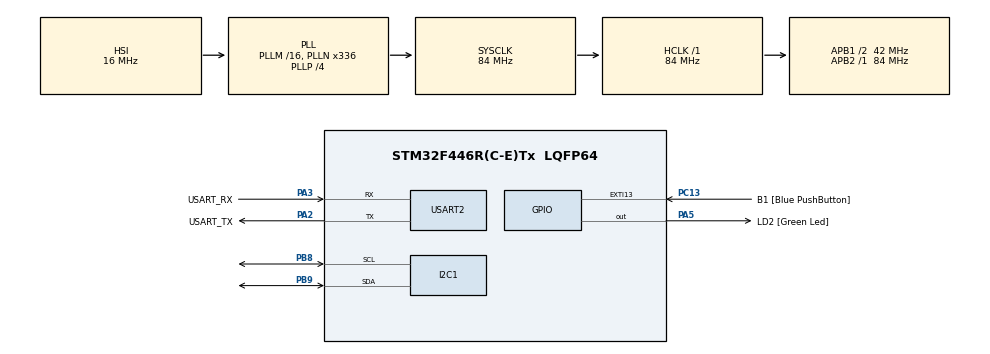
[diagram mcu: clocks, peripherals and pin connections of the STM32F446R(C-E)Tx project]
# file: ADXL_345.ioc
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Mcu.Family=STM32F4
Mcu.Name=STM32F446R(C-E)Tx
Mcu.Package=LQFP64
NVIC.PriorityGroup=NVIC_PRIORITYGROUP_0
PA13.GPIO_Label=TMS
PA13.Mode=Serial_Wire
PA13.Signal=SYS_JTMS-SWDIO
PA14.GPIO_Label=TCK
PA14.Mode=Serial_Wire
PA14.Signal=SYS_JTCK-SWCLK
PA2.GPIO_Label=USART_TX
PA2.Mode=Asynchronous
PA2.Signal=USART2_TX
PA3.GPIO_Label=USART_RX
PA3.Mode=Asynchronous
PA3.Signal=USART2_RX
PA5.GPIO_Label=LD2 [Green Led]
PA5.Signal=GPIO_Output
PB3.GPIO_Label=SWO
PB3.Signal=SYS_JTDO-SWO
PB8.Mode=I2C
PB8.Signal=I2C1_SCL
PB9.Mode=I2C
PB9.Signal=I2C1_SDA
PC13.GPIO_Label=B1 [Blue PushButton]
PC13.GPIO_ModeDefaultEXTI=GPIO_MODE_IT_FALLING
PC13.Signal=GPXTI13
PC14-OSC32_IN.Mode=LSE-External-Oscillator
PC14-OSC32_IN.Signal=RCC_OSC32_IN
PC15-OSC32_OUT.Mode=LSE-External-Oscillator
PC15-OSC32_OUT.Signal=RCC_OSC32_OUT
PH0-OSC_IN.Mode=HSE-External-Oscillator
PH0-OSC_IN.Signal=RCC_OSC_IN
PH1-OSC_OUT.Mode=HSE-External-Oscillator
PH1-OSC_OUT.Signal=RCC_OSC_OUT
ProjectManager.HeapSize=0x200
ProjectManager.StackSize=0x400
ProjectManager.TargetToolchain=STM32CubeIDE
RCC.48MHZClocksFreq_Value=84000000
RCC.AHBFreq_Value=84000000
RCC.APB1CLKDivider=RCC_HCLK_DIV2
RCC.APB1Freq_Value=42000000
RCC.APB1TimFreq_Value=84000000
RCC.APB2Freq_Value=84000000
RCC.APB2TimFreq_Value=84000000
RCC.CortexFreq_Value=84000000
RCC.FLatency-AdvancedSettings=FLASH_LATENCY_2
RCC.HCLKFreq_Value=84000000
RCC.HSE_VALUE=8000000
RCC.HSI_VALUE=16000000
RCC.PLLN=336
RCC.PLLP=RCC_PLLP_DIV4
RCC.SYSCLKFreq_VALUE=84000000
RCC.SYSCLKSource=RCC_SYSCLKSOURCE_PLLCLK
RCC.USBFreq_Value=168000000
RCC.VCOOutputFreq_Value=336000000
USART2.VirtualMode=VM_ASYNC
board=NUCLEO-F446RE

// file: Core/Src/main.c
/* USER CODE BEGIN Header */
/**
  ******************************************************************************
  * @file           : main.c
  * @brief          : Main program body
  ******************************************************************************
  * @attention
  *
  * Copyright (c) 2025 STMicroelectronics.
  * All rights reserved.
  *
  * This software is licensed under terms that can be found in the LICENSE file
  * in the root directory of this software component.
  * If no LICENSE file comes with this software, it is provided AS-IS.
  *
  ******************************************************************************
  */
/* USER CODE END Header */
#include "main.h"

/* USER CODE BEGIN Includes */
#include <stdio.h>
#include <string.h>
/* USER CODE END Includes */

/* USER CODE BEGIN PD */
#define ADXL_ADDRESS (0x53<<1)
#define PWR_CONFIG_ADDRESS 0x2D
#define DATA_REG_ADDRESS 0x32

/* USER CODE END PD */

I2C_HandleTypeDef hi2c1;

UART_HandleTypeDef huart2;

/* USER CODE BEGIN PV */
char buff[100];
uint8_t i2c_data[6];
uint8_t pwr_config_value = 0x08;
/* USER CODE END PV */

void SystemClock_Config(void);
static void MX_GPIO_Init(void);
static void MX_USART2_UART_Init(void);
static void MX_I2C1_Init(void);

int main(void)
{

  /* MCU Configuration--------------------------------------------------------*/

  /* Reset of all peripherals, Initializes the Flash interface and the Systick. */
  HAL_Init();

  /* Configure the system clock */
  SystemClock_Config();

  /* Initialize all configured peripherals */
  MX_GPIO_Init();
  MX_USART2_UART_Init();
  MX_I2C1_Init();
  /* USER CODE BEGIN 2 */
  if(HAL_I2C_IsDeviceReady(&hi2c1, ADXL_ADDRESS, 1, 100)==HAL_OK)
  {
	  snprintf(buff,sizeof(buff),"\r\nADXL Found");
	  HAL_UART_Transmit(&huart2, (uint8_t*)buff, strlen(buff), 100);
  }
  else
  {
	  snprintf(buff,sizeof(buff),"\r\nADXL Not Found");
	  HAL_UART_Transmit(&huart2, (uint8_t*)buff, strlen(buff), 100);
  }
  HAL_I2C_Mem_Write(&hi2c1, ADXL_ADDRESS, PWR_CONFIG_ADDRESS, 1, &pwr_config_value, 1, 100);
  /* USER CODE END 2 */

  /* Infinite loop */
  /* USER CODE BEGIN WHILE */
  while (1)
  {
	  HAL_I2C_Mem_Read(&hi2c1, ADXL_ADDRESS, DATA_REG_ADDRESS, 1, i2c_data, 6, 100);
	  int8_t x_axis = (int16_t)(i2c_data[1]<<8 | i2c_data[0]);
	  int8_t y_axis = (int16_t)(i2c_data[3]<<8 | i2c_data[2]);
	  int8_t z_axis = (int16_t)(i2c_data[5]<<8 | i2c_data[4]);

	  snprintf(buff,sizeof(buff),"\r\n x_axis: %d | y_axis: %d | z_axix: %d",x_axis,y_axis,z_axis);
	  	  HAL_UART_Transmit(&huart2, (uint8_t*)buff, strlen(buff), 100);

    /* USER CODE END WHILE */

  }
}

void SystemClock_Config(void)
{
  RCC_OscInitTypeDef RCC_OscInitStruct = {0};
  RCC_ClkInitTypeDef RCC_ClkInitStruct = {0};

  /** Configure the main internal regulator output voltage
  */
  __HAL_RCC_PWR_CLK_ENABLE();
  __HAL_PWR_VOLTAGESCALING_CONFIG(PWR_REGULATOR_VOLTAGE_SCALE3);

  /** Initializes the RCC Oscillators according to the specified parameters
  * in the RCC_OscInitTypeDef structure.
  */
  RCC_OscInitStruct.OscillatorType = RCC_OSCILLATORTYPE_HSI;
  RCC_OscInitStruct.HSIState = RCC_HSI_ON;
  RCC_OscInitStruct.HSICalibrationValue = RCC_HSICALIBRATION_DEFAULT;
  RCC_OscInitStruct.PLL.PLLState = RCC_PLL_ON;
  RCC_OscInitStruct.PLL.PLLSource = RCC_PLLSOURCE_HSI;
  RCC_OscInitStruct.PLL.PLLM = 16;
  RCC_OscInitStruct.PLL.PLLN = 336;
  RCC_OscInitStruct.PLL.PLLP = RCC_PLLP_DIV4;
  RCC_OscInitStruct.PLL.PLLQ = 2;
  RCC_OscInitStruct.PLL.PLLR = 2;
  if (HAL_RCC_OscConfig(&RCC_OscInitStruct) != HAL_OK)
  {
    Error_Handler();
  }

  /** Initializes the CPU, AHB and APB buses clocks
  */
  RCC_ClkInitStruct.ClockType = RCC_CLOCKTYPE_HCLK|RCC_CLOCKTYPE_SYSCLK
                              |RCC_CLOCKTYPE_PCLK1|RCC_CLOCKTYPE_PCLK2;
  RCC_ClkInitStruct.SYSCLKSource = RCC_SYSCLKSOURCE_PLLCLK;
  RCC_ClkInitStruct.AHBCLKDivider = RCC_SYSCLK_DIV1;
  RCC_ClkInitStruct.APB1CLKDivider = RCC_HCLK_DIV2;
  RCC_ClkInitStruct.APB2CLKDivider = RCC_HCLK_DIV1;

  if (HAL_RCC_ClockConfig(&RCC_ClkInitStruct, FLASH_LATENCY_2) != HAL_OK)
  {
    Error_Handler();
  }
}

static void MX_I2C1_Init(void)
{

  hi2c1.Instance = I2C1;
  hi2c1.Init.ClockSpeed = 100000;
  hi2c1.Init.DutyCycle = I2C_DUTYCYCLE_2;
  hi2c1.Init.OwnAddress1 = 0;
  hi2c1.Init.AddressingMode = I2C_ADDRESSINGMODE_7BIT;
  hi2c1.Init.DualAddressMode = I2C_DUALADDRESS_DISABLE;
  hi2c1.Init.OwnAddress2 = 0;
  hi2c1.Init.GeneralCallMode = I2C_GENERALCALL_DISABLE;
  hi2c1.Init.NoStretchMode = I2C_NOSTRETCH_DISABLE;
  if (HAL_I2C_Init(&hi2c1) != HAL_OK)
  {
    Error_Handler();
  }

}

static void MX_USART2_UART_Init(void)
{

  huart2.Instance = USART2;
  huart2.Init.BaudRate = 115200;
  huart2.Init.WordLength = UART_WORDLENGTH_8B;
  huart2.Init.StopBits = UART_STOPBITS_1;
  huart2.Init.Parity = UART_PARITY_NONE;
  huart2.Init.Mode = UART_MODE_TX_RX;
  huart2.Init.HwFlowCtl = UART_HWCONTROL_NONE;
  huart2.Init.OverSampling = UART_OVERSAMPLING_16;
  if (HAL_UART_Init(&huart2) != HAL_OK)
  {
    Error_Handler();
  }

}

static void MX_GPIO_Init(void)
{
  GPIO_InitTypeDef GPIO_InitStruct = {0};

  /* GPIO Ports Clock Enable */
  __HAL_RCC_GPIOC_CLK_ENABLE();
  __HAL_RCC_GPIOH_CLK_ENABLE();
  __HAL_RCC_GPIOA_CLK_ENABLE();
  __HAL_RCC_GPIOB_CLK_ENABLE();

  /*Configure GPIO pin Output Level */
  HAL_GPIO_WritePin(LD2_GPIO_Port, LD2_Pin, GPIO_PIN_RESET);

  /*Configure GPIO pin : B1_Pin */
  GPIO_InitStruct.Pin = B1_Pin;
  GPIO_InitStruct.Mode = GPIO_MODE_IT_FALLING;
  GPIO_InitStruct.Pull = GPIO_NOPULL;
  HAL_GPIO_Init(B1_GPIO_Port, &GPIO_InitStruct);

  /*Configure GPIO pin : LD2_Pin */
  GPIO_InitStruct.Pin = LD2_Pin;
  GPIO_InitStruct.Mode = GPIO_MODE_OUTPUT_PP;
  GPIO_InitStruct.Pull = GPIO_NOPULL;
  GPIO_InitStruct.Speed = GPIO_SPEED_FREQ_LOW;
  HAL_GPIO_Init(LD2_GPIO_Port, &GPIO_InitStruct);

}

void Error_Handler(void)
{
  __disable_irq();
  while (1)
  {
  }
}
